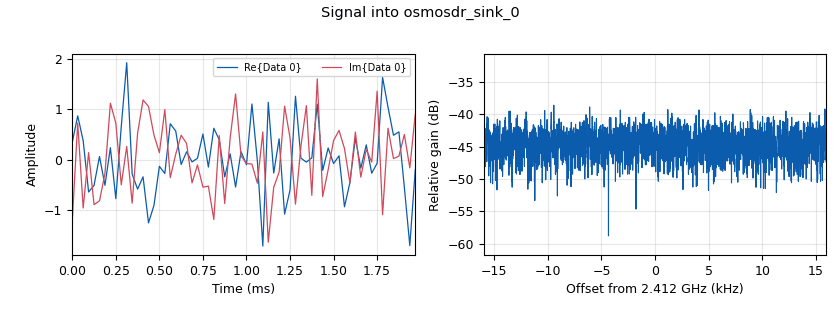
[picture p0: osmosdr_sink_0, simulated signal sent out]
options:
  parameters:
    generate_options: qt_gui
    id: main
    output_language: python
    title: Not titled yet
  states: {}

blocks:
- name: samp_rate
  id: variable
  parameters:
    value: '32000'
  states: {}
- name: wifi_channel
  id: variable
  parameters:
    value: '1'
  states: {}
- name: analog_noise_source_x_0
  id: analog_noise_source_x
  parameters:
    amp: '1'
    noise_type: analog.GR_GAUSSIAN
    seed: '0'
    type: complex
  states: {}
- name: osmosdr_sink_0
  id: osmosdr_sink
  parameters:
    bb_gain0: '20'
    bw0: 20e6
    freq0: 2407e6 + 5e6 * wifi_channel
    gain0: '10'
    if_gain0: '20'
    sample_rate: samp_rate
    sync: sync
    type: fc32
  states: {}
- name: qtgui_sink_x_0
  id: qtgui_sink_x
  parameters:
    bw: samp_rate
    fc: '0'
    fftsize: '1024'
    type: complex
  states: {state: disabled}

connections:
- [analog_noise_source_x_0, '0', osmosdr_sink_0, '0']
- [analog_noise_source_x_0, '0', qtgui_sink_x_0, '0']

metadata:
  file_format: 1
  grc_version: 3.10.12.0
